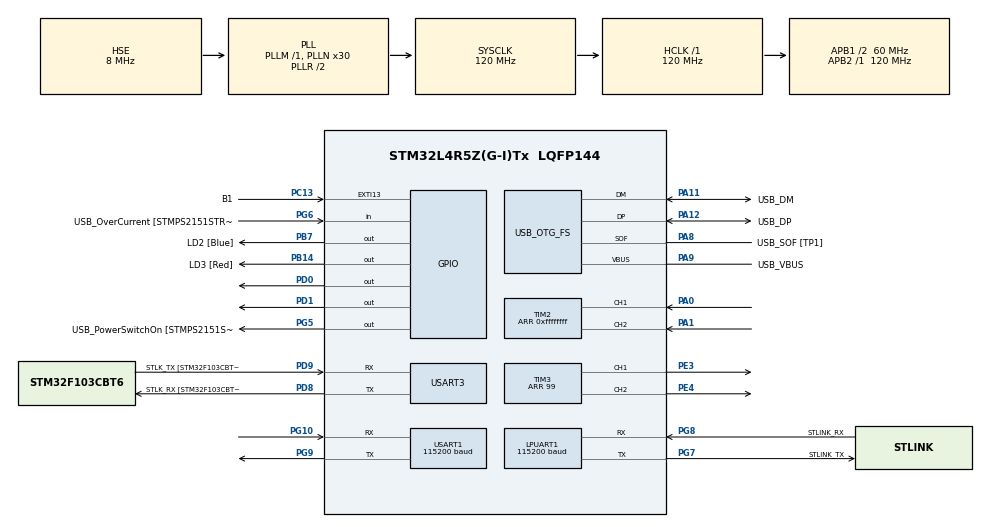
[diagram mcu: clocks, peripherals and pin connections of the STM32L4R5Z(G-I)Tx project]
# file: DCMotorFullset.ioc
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LPUART1.BaudRate=115200
LPUART1.Parity=UART_PARITY_ODD
LPUART1.StopBits=UART_STOPBITS_1
LPUART1.WordLength=UART_WORDLENGTH_9B
Mcu.Family=STM32L4
Mcu.Name=STM32L4R5Z(G-I)Tx
Mcu.Package=LQFP144
NVIC.EXTI15_10_IRQn=true\:0\:0\:false\:false\:true\:true\:true
NVIC.LPUART1_IRQn=true\:1\:0\:true\:false\:true\:true\:true
NVIC.PriorityGroup=NVIC_PRIORITYGROUP_4
NVIC.TIM4_IRQn=true\:0\:0\:true\:false\:true\:true\:true
NVIC.TIM6_DAC_IRQn=true\:0\:0\:false\:false\:true\:true\:true
NVIC.USART1_IRQn=true\:1\:0\:true\:false\:true\:true\:true
PA0.Signal=S_TIM2_CH1
PA1.Signal=S_TIM2_CH2
PA10.GPIO_Label=USB_ID
PA10.Signal=USB_OTG_FS_ID
PA11.GPIO_Label=USB_DM
PA11.Mode=Device_Only
PA11.Signal=USB_OTG_FS_DM
PA12.GPIO_Label=USB_DP
PA12.Mode=Device_Only
PA12.Signal=USB_OTG_FS_DP
PA13\ (JTMS/SWDIO).GPIO_Label=TMS
PA13\ (JTMS/SWDIO).Mode=Trace_Asynchronous_SW
PA13\ (JTMS/SWDIO).Signal=SYS_JTMS-SWDIO
PA14\ (JTCK/SWCLK).GPIO_Label=TCK
PA14\ (JTCK/SWCLK).Mode=Trace_Asynchronous_SW
PA14\ (JTCK/SWCLK).Signal=SYS_JTCK-SWCLK
PA8.GPIO_Label=USB_SOF [TP1]
PA8.Mode=Activate_SOF_FS
PA8.Signal=USB_OTG_FS_SOF
PA9.GPIO_Label=USB_VBUS
PA9.Mode=Activate_VBUS
PA9.Signal=USB_OTG_FS_VBUS
PB14.GPIO_Label=LD3 [Red]
PB14.Signal=GPIO_Output
PB3\ (JTDO/TRACESWO).GPIO_Label=SWO
PB3\ (JTDO/TRACESWO).Mode=Trace_Asynchronous_SW
PB3\ (JTDO/TRACESWO).Signal=SYS_JTDO-SWO
PB7.GPIO_Label=LD2 [Blue]
PB7.Signal=GPIO_Output
PC13.GPIO_Label=B1
PC13.GPIO_PuPd=GPIO_PULLDOWN
PC13.Signal=GPXTI13
PC14-OSC32_IN\ (PC14).Mode=LSE-External-Oscillator
PC14-OSC32_IN\ (PC14).Signal=RCC_OSC32_IN
PC15-OSC32_OUT\ (PC15).Mode=LSE-External-Oscillator
PC15-OSC32_OUT\ (PC15).Signal=RCC_OSC32_OUT
PD0.GPIO_PuPd=GPIO_PULLUP
PD0.Signal=GPIO_Output
PD1.GPIO_PuPd=GPIO_PULLUP
PD1.Signal=GPIO_Output
PD8.GPIO_Label=STLK_RX [STM32F103CBT6_PA3]
PD8.Mode=Asynchronous
PD8.Signal=USART3_TX
PD9.GPIO_Label=STLK_TX [STM32F103CBT6_PA2]
PD9.Mode=Asynchronous
PD9.Signal=USART3_RX
PE3.Signal=S_TIM3_CH1
PE4.Signal=S_TIM3_CH2
PG10.Mode=Asynchronous
PG10.Signal=USART1_RX
PG5.GPIO_Label=USB_PowerSwitchOn [STMPS2151STR_EN]
PG5.Signal=GPIO_Output
PG6.GPIO_Label=USB_OverCurrent [STMPS2151STR_FAULT]
PG6.Signal=GPIO_Input
PG7.GPIO_Label=STLINK_TX
PG7.Mode=Asynchronous
PG7.Signal=LPUART1_TX
PG8.GPIO_Label=STLINK_RX
PG8.Mode=Asynchronous
PG8.Signal=LPUART1_RX
PG9.Mode=Asynchronous
PG9.Signal=USART1_TX
PH0-OSC_IN\ (PH0).Mode=HSE-External-Clock-Source
PH0-OSC_IN\ (PH0).Signal=RCC_OSC_IN
PH1-OSC_OUT\ (PH1).Signal=RCC_OSC_OUT
ProjectManager.HeapSize=0x200
ProjectManager.StackSize=0x400
ProjectManager.TargetToolchain=STM32CubeIDE
RCC.48MHZClocksFreq_Value=24000000
RCC.ADCFreq_Value=48000000
RCC.AHBFreq_Value=120000000
RCC.APB1CLKDivider=RCC_HCLK_DIV2
RCC.APB1Freq_Value=60000000
RCC.APB1TimFreq_Value=120000000
RCC.APB2Freq_Value=120000000
RCC.APB2TimFreq_Value=120000000
RCC.CortexFreq_Value=120000000
RCC.HCLKFreq_Value=120000000
RCC.HSE_VALUE=8000000
RCC.HSI48_VALUE=48000000
RCC.HSI_VALUE=16000000
RCC.MSI_VALUE=4000000
RCC.PLLMUL=RCC_PLL_MUL9
RCC.PLLN=30
RCC.PLLSAI1N=12
RCC.PLLSourceVirtual=RCC_PLLSOURCE_HSE
RCC.PRESCALERUSB=RCC_USBCLKSOURCE_PLL_DIV1_5
RCC.SYSCLKFreq_VALUE=120000000
RCC.SYSCLKSource=RCC_SYSCLKSOURCE_PLLCLK
RCC.SYSCLKSourceVirtual=RCC_SYSCLKSOURCE_PLLCLK
RCC.USBFreq_Value=48000000
RCC.VCOOutputFreq_Value=240000000
SH.S_TIM2_CH1.0=TIM2_CH1,Encoder_Interface
SH.S_TIM2_CH2.0=TIM2_CH2,Encoder_Interface
SH.S_TIM3_CH1.0=TIM3_CH1,PWM Generation1 CH1
SH.S_TIM3_CH2.0=TIM3_CH2,PWM Generation2 CH2
TIM2.EncoderMode=TIM_ENCODERMODE_TI12
TIM2.Period=0xffffffff
TIM3.Channel-PWM\ Generation1\ CH1=TIM_CHANNEL_1
TIM3.Channel-PWM\ Generation2\ CH2=TIM_CHANNEL_2
TIM3.Period=99
TIM4.Period=999
TIM4.Prescaler=39
TIM5.Period=0xffffffff
TIM5.Prescaler=39
TIM6.Period=499
TIM6.Prescaler=39
USART1.BaudRate=115200
USART1.Parity=PARITY_ODD
USART1.StopBits=STOPBITS_1
USART1.VirtualMode-Asynchronous=VM_ASYNC
USART1.WordLength=WORDLENGTH_9B
USART3.VirtualMode-Asynchronous=VM_ASYNC
USB_OTG_FS.VirtualMode=Device_Only
VP_TIM3_VS_ClockSourceINT.Mode=Internal
VP_TIM4_VS_ClockSourceINT.Mode=Internal
VP_TIM5_VS_ClockSourceINT.Mode=Internal
VP_TIM6_VS_ClockSourceINT.Mode=Enable_Timer
board=NUCLEO-L4R5ZI

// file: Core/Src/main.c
/* USER CODE BEGIN Header */
/**
  ******************************************************************************
  * @file           : main.c
  * @brief          : Main program body
  ******************************************************************************
  * @attention
  *
  * <h2><center>&copy; Copyright (c) 2019 STMicroelectronics.
  * All rights reserved.</center></h2>
  *
  * This software component is licensed by ST under BSD 3-Clause license,
  * the "License"; You may not use this file except in compliance with the
  * License. You may obtain a copy of the License at:
  *                        opensource.org/licenses/BSD-3-Clause
  *
  ******************************************************************************
  */
/* USER CODE END Header */

#include "main.h"

/* USER CODE BEGIN Includes */
#include "Driver/UART.h"
#include "Driver/Encoder_Counting.h"
#include "Driver/PWM_Generating.h"
#include "App/PID_Controller.h"

/* USER CODE END Includes */

/* USER CODE BEGIN PTD */
enum Status  {Running = 0x01, Stopped = 0x02, Pendings = 0x00};
enum Mode 	{Vec = 0x01, Pos = 0x02, Pendingm = 0x00};

/* USER CODE END PTD */

UART_HandleTypeDef hlpuart1;
UART_HandleTypeDef huart1;
UART_HandleTypeDef huart3;

TIM_HandleTypeDef htim2;
TIM_HandleTypeDef htim3;
TIM_HandleTypeDef htim4;
TIM_HandleTypeDef htim5;
TIM_HandleTypeDef htim6;

PCD_HandleTypeDef hpcd_USB_OTG_FS;

/* USER CODE BEGIN PV */
float InBuffer[3];
uint8_t Buffer[10];
uint8_t Instruction[5];
extern uint8_t txack, txnak;
extern uint8_t rxnak;
float Float = 18.5;
uint8_t falsetransmit = 0;
uint32_t starttick = 0;

/*-------------- GUI Datas-----------*/
float setpoint = 0;
float realtime = 0;
float kp = 0;
float ki = 0;
float kd = 0;
float gainv = 6.0/5.0;
float gainp = 40.0;

/*-------------- Computing Datas----------*/
volatile int32_t Encount = 0;
volatile int32_t Pwmduty = 0;

/*------------- Control State---------*/
enum Status Motorstatus = Stopped;
enum Mode Motormode = Vec;

/* USER CODE END PV */

void SystemClock_Config(void);
static void MX_GPIO_Init(void);
static void MX_LPUART1_UART_Init(void);
static void MX_USART1_UART_Init(void);
static void MX_USART3_UART_Init(void);
static void MX_TIM2_Init(void);
static void MX_TIM3_Init(void);
static void MX_TIM4_Init(void);
static void MX_TIM5_Init(void);
static void MX_TIM6_Init(void);
static void MX_USB_OTG_FS_PCD_Init(void);

/* USER CODE BEGIN 0 */
void HAL_GPIO_EXTI_Callback(uint16_t GPIO_Pin)
{
	//if (HAL_GPIO_ReadPin(GPIOC, GPIO_PIN_13) != 0)
	{
		//TransmitCommand(Measure, 1, Float);
//		falsetransmit ^= 0x01;
		falsetransmit++;
		if (falsetransmit ==1)
		{
			HAL_GPIO_WritePin(GPIOB, GPIO_PIN_7,GPIO_PIN_SET);
			HAL_GPIO_WritePin(GPIOB, GPIO_PIN_14,GPIO_PIN_RESET);
		}

		if (falsetransmit == 2)
		{
			HAL_GPIO_WritePin(GPIOB, GPIO_PIN_7,GPIO_PIN_RESET);
			HAL_GPIO_WritePin(GPIOB, GPIO_PIN_14,GPIO_PIN_SET);
		}

		if (falsetransmit == 3)
		{
			HAL_GPIO_WritePin(GPIOB, GPIO_PIN_7,GPIO_PIN_RESET);
			HAL_GPIO_WritePin(GPIOB, GPIO_PIN_14,GPIO_PIN_RESET);
			falsetransmit = 0;
		}

	}
}

void HAL_TIM_PeriodElapsedCallback(TIM_HandleTypeDef *htim)
{
	if (__HAL_TIM_GET_IT_SOURCE(&htim4,TIM_IT_UPDATE))
	{
		//HAL_TIM_Base_Start(&htim5);
		switch (Motormode)
		{
		case Vec:
			Encount = EncoderCount(&htim2);
			break;

		case Pos:
			Encount = EncoderPosCount(&htim2);
			break;

		default:
			break;
		}

		Pwmduty = Calibrated_PID(&Encount);
		if (Pwmduty < -45) Pwmduty = -45;
		if (Pwmduty > 45) Pwmduty = 45;

		float calibmea = 0;
		switch (Motormode)
		{
		case Vec:
			calibmea = Encount/gainv;    //*(5.0/6.0);
			break;
		case Pos:
			calibmea = Encount/gainp; ///40.0;
			break;
		default:
			break;
		}

		realtime = (float)((HAL_GetTick() - starttick)/1000.0);

		txack = 1; txnak = 0;
		if (falsetransmit == 2)
		{
			float  b = 522.2, c = 41.3;
			TransmitData(realtime, b, c);
		}
		else
		{
			TransmitAndHandshake(InBuffer, realtime, calibmea, Pwmduty);
		}

		//HAL_TIM_Base_Stop(&htim5);
		//uint32_t gettime = __HAL_TIM_GET_COUNTER(&htim5);
		//__HAL_TIM_SET_COUNTER(&htim5,0);
	}

	if (__HAL_TIM_GET_IT_SOURCE(&htim6,TIM_IT_UPDATE))
	{
//		HAL_TIM_Base_Start(&htim5);
		float calibmea = 0;
		switch (Motormode)
		{
		case Vec:
			calibmea = Encount/gainv;    //*(5.0/6.0);
			break;
		case Pos:
			calibmea = Encount/gainp; ///40.0;
			break;
		default:
			break;
		}
		TransmitAndHandshake(InBuffer, realtime, calibmea, Pwmduty);
//		HAL_TIM_Base_Stop(&htim5);
//		uint32_t gettime = __HAL_TIM_GET_COUNTER(&htim5);
//		__HAL_TIM_SET_COUNTER(&htim5,0);

	}
}

void HAL_UART_ErrorCallback(UART_HandleTypeDef *huart)
{
	if (HAL_UART_GetError(&hlpuart1) == HAL_UART_ERROR_PE)
	{
		rxnak = 1;
	}
}

void HAL_UART_RxCpltCallback(UART_HandleTypeDef *huart)
{
	if (ReceiveAck(Buffer))
	{
		HAL_UART_Receive_IT(&hlpuart1, Buffer, 7);
		return;
	}

	if (falsetransmit == 1)
	{
		uint8_t nak = Nak, stx = STX, etx = ETX;
		uint8_t dummy[4] = {1,0,0,0};
		HAL_UART_Transmit(&hlpuart1, &stx, 1, 1000);
		HAL_UART_Transmit(&hlpuart1, &nak, 1, 1000);
		HAL_UART_Transmit(&hlpuart1, dummy, 4, 1000);
		HAL_UART_Transmit(&hlpuart1, &etx, 1, 1000);
	}
	else
	{
		ReceiveAndHandshake(Buffer, Instruction);
	}
	//EchoReceived(Buffer);

	switch (*Instruction)
	{
	case Run:
		if (Motorstatus == Stopped)
		{
			Pwmduty = 0;
			ClearEncoderCount(&htim2);
			ClearPIDController();

			HAL_TIM_Base_Start_IT(&htim4);
			HAL_TIM_Encoder_Start(&htim2, TIM_CHANNEL_1);
			HAL_TIM_PWM_Start(&htim3, TIM_CHANNEL_1);
			starttick = HAL_GetTick();
			Motorstatus = Running;

		}
		break;
	case Stop:
		if (Motorstatus == Running)
		{
			HAL_TIM_Base_Stop_IT(&htim4);
			HAL_TIM_Encoder_Stop(&htim2, TIM_CHANNEL_1);
			HAL_TIM_PWM_Stop(&htim3, TIM_CHANNEL_1);

			Motorstatus = Stopped;
		}
		break;
	case Velocity:
		if (Motorstatus == Stopped)
		{
			Motormode = Vec;
		}
		break;
	case Position:
		if (Motorstatus == Stopped)
		{
			Motormode = Pos;
		}
		break;
	case ctrlSetpoint:
		{
			float calibset = 0;
			switch (Motormode)
			{
			case Vec:
				setpoint = /*(6.0/5.0)**/ gainv* ReceiveDataofHeader(Instruction);
				calibset = setpoint/gainv;//*(5.0/6.0);
				break;
			case Pos:
				setpoint = /*(40.0)**/ gainp*ReceiveDataofHeader(Instruction);
				calibset = setpoint/gainp;   ///40.0;
				break;
			default:
				break;
			}
		}
		break;
	case ctrlRealtime:
		//if (Motorstatus == Stopped)
		{
			//realtime = ReceiveDataofHeader(Buffer);
			//TransmitWithHeader(Realtime, 0);
		}
		break;
	case Kp:
		if (Motorstatus == Stopped)
		{
			kp = ReceiveDataofHeader(Instruction);
		}
		break;
	case Ki:
		if (Motorstatus == Stopped)
		{
			ki = ReceiveDataofHeader(Instruction);
		}
		break;
	case Kd:
		if (Motorstatus == Stopped)
		{
			kd = ReceiveDataofHeader(Instruction);
		}
		break;
	//case Request:
		/*if (Motorstatus == Stopped)
		{
			uint32_t ii = 0;
			uint8_t message[][20] = {
					"Set Point = ",
					"Time Step = ",
					"Calib Vec Coef = ",
					"Calib Pos Coef = ",
					"Kp = ",
					"Ki = ",
					"Kd = ",
					"Alpha = ",
					"Beta = "
			};
			for (ii = 0; ii< sizeof(message[0]); ii++)
			{
				TransmitWithHeader(Message, message[0][ii]);
			}
			TransmitWithHeader(Floattype, setpoint);
			for (ii = 0; ii< sizeof(message[1]); ii++)
			{
				TransmitWithHeader(Message, message[1][ii]);
			}
			TransmitWithHeader(Floattype, (float)time);
			for (ii = 0; ii< sizeof(message[2]); ii++)
			{
				TransmitWithHeader(Message, message[2][ii]);
			}
			TransmitWithHeader(Floattype, gainv);
			for (ii = 0; ii< sizeof(message[3]); ii++)
			{
				TransmitWithHeader(Message, message[3][ii]);
			}
			TransmitWithHeader(Floattype, gainp);
			for (ii = 0; ii< sizeof(message[4]); ii++)
			{
				TransmitWithHeader(Message, message[4][ii]);
			}
			TransmitWithHeader(Floattype, kp);
			for (ii = 0; ii< sizeof(message[5]); ii++)
			{
				TransmitWithHeader(Message, message[5][ii]);
			}
			TransmitWithHeader(Floattype, ki);
			for (ii = 0; ii< sizeof(message[6]); ii++)
			{
				TransmitWithHeader(Message, message[6][ii]);
			}
			TransmitWithHeader(Floattype, kd);
			for (ii = 0; ii< sizeof(message[7]); ii++)
			{
				TransmitWithHeader(Message, message[7][ii]);
			}

			uint32_t it = 50;
			for (it = 0; it<= 200; it++)
			{
				TransmitWithHeader(0x00, 0);
			}

		}
		break;*/
	case Calib:
		if (Motorstatus == Stopped)
		{
			switch (Motormode)
			{
			case Vec:
				gainv = ReceiveDataofHeader(Instruction);
				break;
			case Pos:
				gainp = ReceiveDataofHeader(Instruction);
				break;
			default:
				break;
			}
		}
		break;
	}

	HAL_UART_Receive_IT(&hlpuart1, Buffer, 7);

}
/* USER CODE END 0 */

int main(void)
{

  /* MCU Configuration--------------------------------------------------------*/

  /* Reset of all peripherals, Initializes the Flash interface and the Systick. */
  HAL_Init();

  /* Configure the system clock */
  SystemClock_Config();

  /* Initialize all configured peripherals */
  MX_GPIO_Init();
  MX_LPUART1_UART_Init();
  MX_USART1_UART_Init();
  MX_USART3_UART_Init();
  MX_TIM2_Init();
  MX_TIM3_Init();
  MX_TIM4_Init();
  MX_TIM5_Init();
  MX_TIM6_Init();
  MX_USB_OTG_FS_PCD_Init();
  /* USER CODE BEGIN 2 */

  HAL_TIM_Base_Init(&htim2);
  HAL_UART_Receive_IT(&hlpuart1, Buffer, 7);

  /* USER CODE END 2 */

  /* Infinite loop */
  /* USER CODE BEGIN WHILE */
  while (1)
  {
	  HAL_UART_Receive_IT(&hlpuart1, Buffer, 7);
	  PWMGen2(&Pwmduty, &htim3, TIM_CHANNEL_1, GPIOD, GPIO_PIN_0, GPIOD, GPIO_PIN_1);

    /* USER CODE END WHILE */

  }
}

void SystemClock_Config(void)
{
  RCC_OscInitTypeDef RCC_OscInitStruct = {0};
  RCC_ClkInitTypeDef RCC_ClkInitStruct = {0};
  RCC_PeriphCLKInitTypeDef PeriphClkInit = {0};

  /** Configure the main internal regulator output voltage
  */
  if (HAL_PWREx_ControlVoltageScaling(PWR_REGULATOR_VOLTAGE_SCALE1_BOOST) != HAL_OK)
  {
    Error_Handler();
  }
  /** Initializes the CPU, AHB and APB busses clocks
  */
  RCC_OscInitStruct.OscillatorType = RCC_OSCILLATORTYPE_HSE;
  RCC_OscInitStruct.HSEState = RCC_HSE_BYPASS;
  RCC_OscInitStruct.PLL.PLLState = RCC_PLL_ON;
  RCC_OscInitStruct.PLL.PLLSource = RCC_PLLSOURCE_HSE;
  RCC_OscInitStruct.PLL.PLLM = 1;
  RCC_OscInitStruct.PLL.PLLN = 30;
  RCC_OscInitStruct.PLL.PLLP = RCC_PLLP_DIV2;
  RCC_OscInitStruct.PLL.PLLQ = RCC_PLLQ_DIV2;
  RCC_OscInitStruct.PLL.PLLR = RCC_PLLR_DIV2;
  if (HAL_RCC_OscConfig(&RCC_OscInitStruct) != HAL_OK)
  {
    Error_Handler();
  }
  /** Initializes the CPU, AHB and APB busses clocks
  */
  RCC_ClkInitStruct.ClockType = RCC_CLOCKTYPE_HCLK|RCC_CLOCKTYPE_SYSCLK
                              |RCC_CLOCKTYPE_PCLK1|RCC_CLOCKTYPE_PCLK2;
  RCC_ClkInitStruct.SYSCLKSource = RCC_SYSCLKSOURCE_PLLCLK;
  RCC_ClkInitStruct.AHBCLKDivider = RCC_SYSCLK_DIV1;
  RCC_ClkInitStruct.APB1CLKDivider = RCC_HCLK_DIV2;
  RCC_ClkInitStruct.APB2CLKDivider = RCC_HCLK_DIV1;

  if (HAL_RCC_ClockConfig(&RCC_ClkInitStruct, FLASH_LATENCY_5) != HAL_OK)
  {
    Error_Handler();
  }
  PeriphClkInit.PeriphClockSelection = RCC_PERIPHCLK_USART1|RCC_PERIPHCLK_USART3
                              |RCC_PERIPHCLK_LPUART1|RCC_PERIPHCLK_USB;
  PeriphClkInit.Usart1ClockSelection = RCC_USART1CLKSOURCE_PCLK2;
  PeriphClkInit.Usart3ClockSelection = RCC_USART3CLKSOURCE_PCLK1;
  PeriphClkInit.Lpuart1ClockSelection = RCC_LPUART1CLKSOURCE_PCLK1;
  PeriphClkInit.UsbClockSelection = RCC_USBCLKSOURCE_PLLSAI1;
  PeriphClkInit.PLLSAI1.PLLSAI1Source = RCC_PLLSOURCE_HSE;
  PeriphClkInit.PLLSAI1.PLLSAI1M = 1;
  PeriphClkInit.PLLSAI1.PLLSAI1N = 12;
  PeriphClkInit.PLLSAI1.PLLSAI1P = RCC_PLLP_DIV2;
  PeriphClkInit.PLLSAI1.PLLSAI1Q = RCC_PLLQ_DIV2;
  PeriphClkInit.PLLSAI1.PLLSAI1R = RCC_PLLR_DIV2;
  PeriphClkInit.PLLSAI1.PLLSAI1ClockOut = RCC_PLLSAI1_48M2CLK;
  if (HAL_RCCEx_PeriphCLKConfig(&PeriphClkInit) != HAL_OK)
  {
    Error_Handler();
  }
}

static void MX_LPUART1_UART_Init(void)
{

  hlpuart1.Instance = LPUART1;
  hlpuart1.Init.BaudRate = 115200;
  hlpuart1.Init.WordLength = UART_WORDLENGTH_9B;
  hlpuart1.Init.StopBits = UART_STOPBITS_1;
  hlpuart1.Init.Parity = UART_PARITY_ODD;
  hlpuart1.Init.Mode = UART_MODE_TX_RX;
  hlpuart1.Init.HwFlowCtl = UART_HWCONTROL_NONE;
  hlpuart1.Init.OneBitSampling = UART_ONE_BIT_SAMPLE_DISABLE;
  hlpuart1.Init.ClockPrescaler = UART_PRESCALER_DIV1;
  hlpuart1.AdvancedInit.AdvFeatureInit = UART_ADVFEATURE_NO_INIT;
  hlpuart1.FifoMode = UART_FIFOMODE_DISABLE;
  if (HAL_UART_Init(&hlpuart1) != HAL_OK)
  {
    Error_Handler();
  }
  if (HAL_UARTEx_SetTxFifoThreshold(&hlpuart1, UART_TXFIFO_THRESHOLD_1_8) != HAL_OK)
  {
    Error_Handler();
  }
  if (HAL_UARTEx_SetRxFifoThreshold(&hlpuart1, UART_RXFIFO_THRESHOLD_1_8) != HAL_OK)
  {
    Error_Handler();
  }

}

static void MX_USART1_UART_Init(void)
{

  huart1.Instance = USART1;
  huart1.Init.BaudRate = 115200;
  huart1.Init.WordLength = UART_WORDLENGTH_9B;
  huart1.Init.StopBits = UART_STOPBITS_1;
  huart1.Init.Parity = UART_PARITY_ODD;
  huart1.Init.Mode = UART_MODE_TX_RX;
  huart1.Init.HwFlowCtl = UART_HWCONTROL_NONE;
  huart1.Init.OverSampling = UART_OVERSAMPLING_16;
  huart1.Init.OneBitSampling = UART_ONE_BIT_SAMPLE_DISABLE;
  huart1.Init.ClockPrescaler = UART_PRESCALER_DIV1;
  huart1.AdvancedInit.AdvFeatureInit = UART_ADVFEATURE_NO_INIT;
  if (HAL_UART_Init(&huart1) != HAL_OK)
  {
    Error_Handler();
  }
  if (HAL_UARTEx_SetTxFifoThreshold(&huart1, UART_TXFIFO_THRESHOLD_1_8) != HAL_OK)
  {
    Error_Handler();
  }
  if (HAL_UARTEx_SetRxFifoThreshold(&huart1, UART_RXFIFO_THRESHOLD_1_8) != HAL_OK)
  {
    Error_Handler();
  }
  if (HAL_UARTEx_DisableFifoMode(&huart1) != HAL_OK)
  {
    Error_Handler();
  }

}

static void MX_USART3_UART_Init(void)
{

  huart3.Instance = USART3;
  huart3.Init.BaudRate = 115200;
  huart3.Init.WordLength = UART_WORDLENGTH_8B;
  huart3.Init.StopBits = UART_STOPBITS_1;
  huart3.Init.Parity = UART_PARITY_NONE;
  huart3.Init.Mode = UART_MODE_TX_RX;
  huart3.Init.HwFlowCtl = UART_HWCONTROL_NONE;
  huart3.Init.OverSampling = UART_OVERSAMPLING_16;
  huart3.Init.OneBitSampling = UART_ONE_BIT_SAMPLE_DISABLE;
  huart3.Init.ClockPrescaler = UART_PRESCALER_DIV1;
  huart3.AdvancedInit.AdvFeatureInit = UART_ADVFEATURE_NO_INIT;
  if (HAL_UART_Init(&huart3) != HAL_OK)
  {
    Error_Handler();
  }
  if (HAL_UARTEx_SetTxFifoThreshold(&huart3, UART_TXFIFO_THRESHOLD_1_8) != HAL_OK)
  {
    Error_Handler();
  }
  if (HAL_UARTEx_SetRxFifoThreshold(&huart3, UART_RXFIFO_THRESHOLD_1_8) != HAL_OK)
  {
    Error_Handler();
  }
  if (HAL_UARTEx_DisableFifoMode(&huart3) != HAL_OK)
  {
    Error_Handler();
  }

}

static void MX_TIM2_Init(void)
{

  TIM_Encoder_InitTypeDef sConfig = {0};
  TIM_MasterConfigTypeDef sMasterConfig = {0};

  htim2.Instance = TIM2;
  htim2.Init.Prescaler = 0;
  htim2.Init.CounterMode = TIM_COUNTERMODE_UP;
  htim2.Init.Period = 0xffffffff;
  htim2.Init.ClockDivision = TIM_CLOCKDIVISION_DIV1;
  htim2.Init.AutoReloadPreload = TIM_AUTORELOAD_PRELOAD_DISABLE;
  sConfig.EncoderMode = TIM_ENCODERMODE_TI12;
  sConfig.IC1Polarity = TIM_ICPOLARITY_RISING;
  sConfig.IC1Selection = TIM_ICSELECTION_DIRECTTI;
  sConfig.IC1Prescaler = TIM_ICPSC_DIV1;
  sConfig.IC1Filter = 0;
  sConfig.IC2Polarity = TIM_ICPOLARITY_RISING;
  sConfig.IC2Selection = TIM_ICSELECTION_DIRECTTI;
  sConfig.IC2Prescaler = TIM_ICPSC_DIV1;
  sConfig.IC2Filter = 0;
  if (HAL_TIM_Encoder_Init(&htim2, &sConfig) != HAL_OK)
  {
    Error_Handler();
  }
  sMasterConfig.MasterOutputTrigger = TIM_TRGO_RESET;
  sMasterConfig.MasterSlaveMode = TIM_MASTERSLAVEMODE_DISABLE;
  if (HAL_TIMEx_MasterConfigSynchronization(&htim2, &sMasterConfig) != HAL_OK)
  {
    Error_Handler();
  }

}

static void MX_TIM3_Init(void)
{

  TIM_ClockConfigTypeDef sClockSourceConfig = {0};
  TIM_MasterConfigTypeDef sMasterConfig = {0};
  TIM_OC_InitTypeDef sConfigOC = {0};

  htim3.Instance = TIM3;
  htim3.Init.Prescaler = 0;
  htim3.Init.CounterMode = TIM_COUNTERMODE_UP;
  htim3.Init.Period = 99;
  htim3.Init.ClockDivision = TIM_CLOCKDIVISION_DIV1;
  htim3.Init.AutoReloadPreload = TIM_AUTORELOAD_PRELOAD_DISABLE;
  if (HAL_TIM_Base_Init(&htim3) != HAL_OK)
  {
    Error_Handler();
  }
  sClockSourceConfig.ClockSource = TIM_CLOCKSOURCE_INTERNAL;
  if (HAL_TIM_ConfigClockSource(&htim3, &sClockSourceConfig) != HAL_OK)
  {
    Error_Handler();
  }
  if (HAL_TIM_PWM_Init(&htim3) != HAL_OK)
  {
    Error_Handler();
  }
  sMasterConfig.MasterOutputTrigger = TIM_TRGO_RESET;
  sMasterConfig.MasterSlaveMode = TIM_MASTERSLAVEMODE_DISABLE;
  if (HAL_TIMEx_MasterConfigSynchronization(&htim3, &sMasterConfig) != HAL_OK)
  {
    Error_Handler();
  }
  sConfigOC.OCMode = TIM_OCMODE_PWM1;
  sConfigOC.Pulse = 0;
  sConfigOC.OCPolarity = TIM_OCPOLARITY_HIGH;
  sConfigOC.OCFastMode = TIM_OCFAST_DISABLE;
  if (HAL_TIM_PWM_ConfigChannel(&htim3, &sConfigOC, TIM_CHANNEL_1) != HAL_OK)
  {
    Error_Handler();
  }
  if (HAL_TIM_PWM_ConfigChannel(&htim3, &sConfigOC, TIM_CHANNEL_2) != HAL_OK)
  {
    Error_Handler();
  }
  HAL_TIM_MspPostInit(&htim3);

}

static void MX_TIM4_Init(void)
{

  TIM_ClockConfigTypeDef sClockSourceConfig = {0};
  TIM_MasterConfigTypeDef sMasterConfig = {0};

  htim4.Instance = TIM4;
  htim4.Init.Prescaler = 39;
  htim4.Init.CounterMode = TIM_COUNTERMODE_UP;
  htim4.Init.Period = 999;
  htim4.Init.ClockDivision = TIM_CLOCKDIVISION_DIV1;
  htim4.Init.AutoReloadPreload = TIM_AUTORELOAD_PRELOAD_DISABLE;
  if (HAL_TIM_Base_Init(&htim4) != HAL_OK)
  {
    Error_Handler();
  }
  sClockSourceConfig.ClockSource = TIM_CLOCKSOURCE_INTERNAL;
  if (HAL_TIM_ConfigClockSource(&htim4, &sClockSourceConfig) != HAL_OK)
  {
    Error_Handler();
  }
  sMasterConfig.MasterOutputTrigger = TIM_TRGO_RESET;
  sMasterConfig.MasterSlaveMode = TIM_MASTERSLAVEMODE_DISABLE;
  if (HAL_TIMEx_MasterConfigSynchronization(&htim4, &sMasterConfig) != HAL_OK)
  {
    Error_Handler();
  }

}

static void MX_TIM5_Init(void)
{

  TIM_ClockConfigTypeDef sClockSourceConfig = {0};
  TIM_MasterConfigTypeDef sMasterConfig = {0};

  htim5.Instance = TIM5;
  htim5.Init.Prescaler = 39;
  htim5.Init.CounterMode = TIM_COUNTERMODE_UP;
  htim5.Init.Period = 0xffffffff;
  htim5.Init.ClockDivision = TIM_CLOCKDIVISION_DIV1;
  htim5.Init.AutoReloadPreload = TIM_AUTORELOAD_PRELOAD_DISABLE;
  if (HAL_TIM_Base_Init(&htim5) != HAL_OK)
  {
    Error_Handler();
  }
  sClockSourceConfig.ClockSource = TIM_CLOCKSOURCE_INTERNAL;
  if (HAL_TIM_ConfigClockSource(&htim5, &sClockSourceConfig) != HAL_OK)
  {
    Error_Handler();
  }
  sMasterConfig.MasterOutputTrigger = TIM_TRGO_RESET;
  sMasterConfig.MasterSlaveMode = TIM_MASTERSLAVEMODE_DISABLE;
  if (HAL_TIMEx_MasterConfigSynchronization(&htim5, &sMasterConfig) != HAL_OK)
  {
    Error_Handler();
  }

}

static void MX_TIM6_Init(void)
{

  TIM_MasterConfigTypeDef sMasterConfig = {0};

  htim6.Instance = TIM6;
  htim6.Init.Prescaler = 39;
  htim6.Init.CounterMode = TIM_COUNTERMODE_UP;
  htim6.Init.Period = 499;
  htim6.Init.AutoReloadPreload = TIM_AUTORELOAD_PRELOAD_DISABLE;
  if (HAL_TIM_Base_Init(&htim6) != HAL_OK)
  {
    Error_Handler();
  }
  sMasterConfig.MasterOutputTrigger = TIM_TRGO_RESET;
  sMasterConfig.MasterSlaveMode = TIM_MASTERSLAVEMODE_DISABLE;
  if (HAL_TIMEx_MasterConfigSynchronization(&htim6, &sMasterConfig) != HAL_OK)
  {
    Error_Handler();
  }

}

static void MX_USB_OTG_FS_PCD_Init(void)
{

  hpcd_USB_OTG_FS.Instance = USB_OTG_FS;
  hpcd_USB_OTG_FS.Init.dev_endpoints = 6;
  hpcd_USB_OTG_FS.Init.phy_itface = PCD_PHY_EMBEDDED;
  hpcd_USB_OTG_FS.Init.Sof_enable = ENABLE;
  hpcd_USB_OTG_FS.Init.low_power_enable = DISABLE;
  hpcd_USB_OTG_FS.Init.lpm_enable = DISABLE;
  hpcd_USB_OTG_FS.Init.battery_charging_enable = ENABLE;
  hpcd_USB_OTG_FS.Init.use_dedicated_ep1 = DISABLE;
  hpcd_USB_OTG_FS.Init.vbus_sensing_enable = ENABLE;
  if (HAL_PCD_Init(&hpcd_USB_OTG_FS) != HAL_OK)
  {
    Error_Handler();
  }

}

static void MX_GPIO_Init(void)
{
  GPIO_InitTypeDef GPIO_InitStruct = {0};

  /* GPIO Ports Clock Enable */
  __HAL_RCC_GPIOE_CLK_ENABLE();
  __HAL_RCC_GPIOC_CLK_ENABLE();
  __HAL_RCC_GPIOH_CLK_ENABLE();
  __HAL_RCC_GPIOA_CLK_ENABLE();
  __HAL_RCC_GPIOB_CLK_ENABLE();
  __HAL_RCC_GPIOD_CLK_ENABLE();
  __HAL_RCC_GPIOG_CLK_ENABLE();
  HAL_PWREx_EnableVddIO2();

  /*Configure GPIO pin Output Level */
  HAL_GPIO_WritePin(GPIOB, LD3_Pin|LD2_Pin, GPIO_PIN_RESET);

  /*Configure GPIO pin Output Level */
  HAL_GPIO_WritePin(USB_PowerSwitchOn_GPIO_Port, USB_PowerSwitchOn_Pin, GPIO_PIN_RESET);

  /*Configure GPIO pin Output Level */
  HAL_GPIO_WritePin(GPIOD, GPIO_PIN_0|GPIO_PIN_1, GPIO_PIN_RESET);

  /*Configure GPIO pin : B1_Pin */
  GPIO_InitStruct.Pin = B1_Pin;
  GPIO_InitStruct.Mode = GPIO_MODE_IT_RISING;
  GPIO_InitStruct.Pull = GPIO_PULLDOWN;
  HAL_GPIO_Init(B1_GPIO_Port, &GPIO_InitStruct);

  /*Configure GPIO pins : LD3_Pin LD2_Pin */
  GPIO_InitStruct.Pin = LD3_Pin|LD2_Pin;
  GPIO_InitStruct.Mode = GPIO_MODE_OUTPUT_PP;
  GPIO_InitStruct.Pull = GPIO_NOPULL;
  GPIO_InitStruct.Speed = GPIO_SPEED_FREQ_LOW;
  HAL_GPIO_Init(GPIOB, &GPIO_InitStruct);

  /*Configure GPIO pin : USB_PowerSwitchOn_Pin */
  GPIO_InitStruct.Pin = USB_PowerSwitchOn_Pin;
  GPIO_InitStruct.Mode = GPIO_MODE_OUTPUT_PP;
  GPIO_InitStruct.Pull = GPIO_NOPULL;
  GPIO_InitStruct.Speed = GPIO_SPEED_FREQ_LOW;
  HAL_GPIO_Init(USB_PowerSwitchOn_GPIO_Port, &GPIO_InitStruct);

  /*Configure GPIO pin : USB_OverCurrent_Pin */
  GPIO_InitStruct.Pin = USB_OverCurrent_Pin;
  GPIO_InitStruct.Mode = GPIO_MODE_INPUT;
  GPIO_InitStruct.Pull = GPIO_NOPULL;
  HAL_GPIO_Init(USB_OverCurrent_GPIO_Port, &GPIO_InitStruct);

  /*Configure GPIO pins : PD0 PD1 */
  GPIO_InitStruct.Pin = GPIO_PIN_0|GPIO_PIN_1;
  GPIO_InitStruct.Mode = GPIO_MODE_OUTPUT_PP;
  GPIO_InitStruct.Pull = GPIO_PULLUP;
  GPIO_InitStruct.Speed = GPIO_SPEED_FREQ_LOW;
  HAL_GPIO_Init(GPIOD, &GPIO_InitStruct);

  /* EXTI interrupt init*/
  HAL_NVIC_SetPriority(EXTI15_10_IRQn, 0, 0);
  HAL_NVIC_EnableIRQ(EXTI15_10_IRQn);

}

void Error_Handler(void)
{
}

/************************ (C) COPYRIGHT STMicroelectronics *****END OF FILE****/
